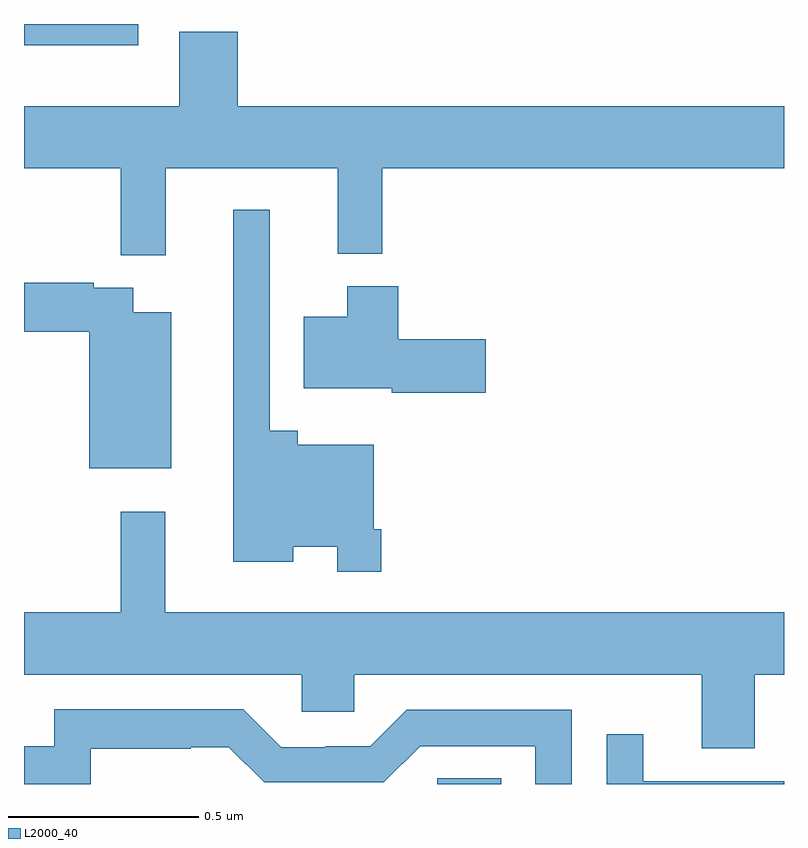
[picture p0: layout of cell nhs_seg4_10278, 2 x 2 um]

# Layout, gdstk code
import gdstk
lib = gdstk.Library(unit=1e-6, precision=1e-09)
def R(c, l, rs):  # rectangles x0, y0, x1, y1
    for r in rs: c.add(gdstk.rectangle(r[:2], r[2:], *l))
def P(c, l, *ps):  # polygons
    for p in ps: c.add(gdstk.Polygon(p, *l))
L2000_40 = (2000, 40)

nhs_seg4_10278 = lib.new_cell('nhs_seg4_10278')
R(nhs_seg4_10278, L2000_40, [(239.088,761.9,239.256,761.915), (238,763.844,238.3,763.9)])
P(nhs_seg4_10278, L2000_40, [(238.373,763.52),(238.826,763.52),(238.826,763.295),(238.943,763.295),(238.943,763.52),(240,763.52),(240,763.684),(238.562,763.684),(238.562,763.879),(238.409,763.879),(238.409,763.684),(238,763.684),(238,763.52),(238.255,763.52),(238.255,763.291),(238.373,763.291)],
  [(238.94,762.571),(238.92,762.571),(238.92,762.793),(238.721,762.793),(238.721,762.829),(238.647,762.829),(238.647,763.411),(238.55,763.411),(238.55,762.485),(238.708,762.485),(238.708,762.524),(238.824,762.524),(238.824,762.459),(238.94,762.459)],
  [(238.387,763.141),(238.288,763.141),(238.288,763.206),(238.184,763.206),(238.184,763.219),(238,763.219),(238,763.09),(238.172,763.09),(238.172,762.731),(238.387,762.731)],
  [(239.215,763.071),(238.985,763.071),(238.985,763.21),(238.85,763.21),(238.85,763.129),(238.736,763.129),(238.736,762.941),(238.968,762.941),(238.968,762.929),(239.215,762.929)],
  [(239.923,762.188),(240,762.188),(240,762.352),(238.372,762.352),(238.372,762.616),(238.255,762.616),(238.255,762.352),(238,762.352),(238,762.188),(238.731,762.188),(238.731,762.09),(238.869,762.09),(238.869,762.188),(239.783,762.188),(239.783,761.994),(239.923,761.994)],
  [(238.176,761.993),(238.439,761.993),(238.439,761.997),(238.539,761.997),(238.632,761.904),(238.947,761.904),(239.043,762),(239.346,762),(239.346,761.9),(239.442,761.9),(239.442,762.096),(239.007,762.096),(238.911,762),(238.793,762),(238.793,761.997),(238.677,761.997),(238.577,762.097),(238.08,762.097),(238.08,762),(238,762),(238,761.9),(238.176,761.9)],
  [(240,761.907),(239.629,761.907),(239.629,762.031),(239.533,762.031),(239.533,761.9),(240,761.9)])

lib.write_gds('nhs_seg4_10278.gds')
